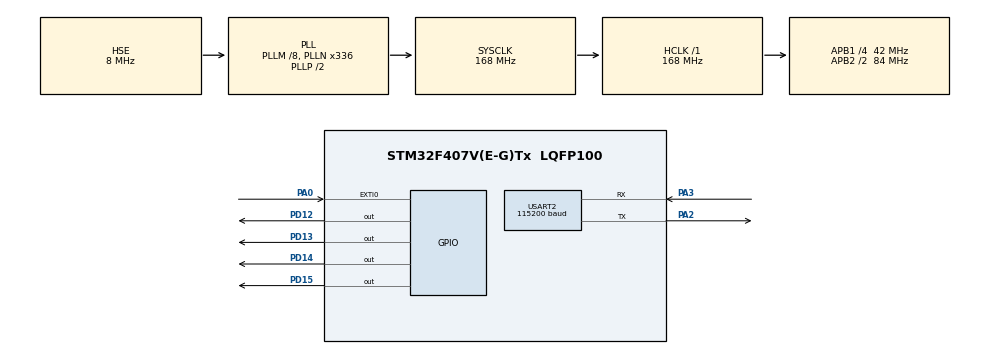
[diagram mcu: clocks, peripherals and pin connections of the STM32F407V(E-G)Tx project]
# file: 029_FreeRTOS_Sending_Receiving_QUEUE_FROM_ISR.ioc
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FREERTOS.Tasks01=defaultTask,24,128,StartDefaultTask,Default,NULL,Dynamic,NULL,NULL
FREERTOS.configUSE_NEWLIB_REENTRANT=1
Mcu.Family=STM32F4
Mcu.Name=STM32F407V(E-G)Tx
Mcu.Package=LQFP100
NVIC.EXTI0_IRQn=true\:5\:0\:false\:false\:true\:true\:true\:true\:true
NVIC.PriorityGroup=NVIC_PRIORITYGROUP_4
NVIC.TIM8_TRG_COM_TIM14_IRQn=true\:15\:0\:false\:false\:true\:false\:false\:true\:true
NVIC.TimeBase=TIM8_TRG_COM_TIM14_IRQn
NVIC.TimeBaseIP=TIM14
NVIC.USART2_IRQn=true\:5\:0\:false\:false\:true\:true\:true\:true\:true
PA0-WKUP.Signal=GPXTI0
PA2.Mode=Asynchronous
PA2.Signal=USART2_TX
PA3.Mode=Asynchronous
PA3.Signal=USART2_RX
PD12.Signal=GPIO_Output
PD13.Signal=GPIO_Output
PD14.Signal=GPIO_Output
PD15.Signal=GPIO_Output
PH0-OSC_IN.Mode=HSE-External-Oscillator
PH0-OSC_IN.Signal=RCC_OSC_IN
PH1-OSC_OUT.Mode=HSE-External-Oscillator
PH1-OSC_OUT.Signal=RCC_OSC_OUT
ProjectManager.HeapSize=0x200
ProjectManager.StackSize=0x400
ProjectManager.TargetToolchain=STM32CubeIDE
RCC.48MHZClocksFreq_Value=48000000
RCC.AHBFreq_Value=168000000
RCC.APB1CLKDivider=RCC_HCLK_DIV4
RCC.APB1Freq_Value=42000000
RCC.APB1TimFreq_Value=84000000
RCC.APB2CLKDivider=RCC_HCLK_DIV2
RCC.APB2Freq_Value=84000000
RCC.APB2TimFreq_Value=168000000
RCC.CortexFreq_Value=168000000
RCC.HCLKFreq_Value=168000000
RCC.HSE_VALUE=8000000
RCC.HSI_VALUE=16000000
RCC.LSE_VALUE=32768
RCC.PLLM=8
RCC.PLLN=336
RCC.PLLQ=7
RCC.PLLSourceVirtual=RCC_PLLSOURCE_HSE
RCC.SYSCLKFreq_VALUE=168000000
RCC.SYSCLKSource=RCC_SYSCLKSOURCE_PLLCLK
RCC.VCOOutputFreq_Value=336000000
USART2.BaudRate=115200
USART2.VirtualMode=VM_ASYNC
VP_FREERTOS_VS_CMSIS_V2.Mode=CMSIS_V2
VP_SYS_VS_tim14.Mode=TIM14
board=STM32F407G-DISC1

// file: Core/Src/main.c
/* USER CODE BEGIN Header */
/**
  ******************************************************************************
  * @file           : main.c
  * @brief          : Main program body
  ******************************************************************************
  * @attention
  *
  * Copyright (c) 2023 STMicroelectronics.
  * All rights reserved.
  *
  * This software is licensed under terms that can be found in the LICENSE file
  * in the root directory of this software component.
  * If no LICENSE file comes with this software, it is provided AS-IS.
  *
  ******************************************************************************
  */
/* USER CODE END Header */
#include "main.h"

/* USER CODE BEGIN Includes */
#include "FreeRTOS.h"
#include "task.h"
#include "queue.h"
#include <string.h>
#include <stdio.h>
/* USER CODE END Includes */

UART_HandleTypeDef huart2;

/* Definitions for defaultTask */

/* USER CODE BEGIN PV */
QueueHandle_t xIntegerQueue = NULL;
QueueHandle_t xStringQueue = NULL;

/* USER CODE END PV */

void SystemClock_Config(void);
static void MX_GPIO_Init(void);
static void MX_USART2_UART_Init(void);

/* USER CODE BEGIN 0 */
static void vIntegerGenerator(void *pvParameters)
{
	TickType_t xLastExecutionTime;
	uint32_t ulValueToSend = 0;
	int i;
	const char *msg = "Generator task - Filled the queue!\r\n";

	xLastExecutionTime = xTaskGetTickCount();
	for(;;)
	{
		vTaskDelayUntil(&xLastExecutionTime, pdMS_TO_TICKS(200));
		if(uxQueueSpacesAvailable(xIntegerQueue) == 10)
		{
			for(i = 0; i < 10; i++)
			{
				xQueueSendToBack(xIntegerQueue, &ulValueToSend, 0);
				ulValueToSend++;
			}
			HAL_UART_Transmit(&huart2, (uint8_t *)msg, strlen(msg), HAL_MAX_DELAY);
		}
	}
}
void HAL_GPIO_EXTI_Callback(uint16_t GPIO_Pin)
{
  if(GPIO_Pin == GPIO_PIN_0)
  {
	  BaseType_t xHigherPriorityTaskWoken = pdFALSE;
	  uint32_t ulReceivedNumber;

	  static const char *pcStrings[] =
	  {
			  "String 0\r\n",
			  "String 1\r\n",
			  "String 2\r\n",
			  "String 3\r\n",
	  };

	  while(xQueueReceiveFromISR(xIntegerQueue, &ulReceivedNumber, &xHigherPriorityTaskWoken) != errQUEUE_EMPTY)
	  {
		  ulReceivedNumber &= 0x03;
		  xQueueSendToBackFromISR(xStringQueue, &pcStrings[ulReceivedNumber], &xHigherPriorityTaskWoken);
	  }
	  portYIELD_FROM_ISR(xHigherPriorityTaskWoken);
  }
}
static void vStringPrinter(void *pvParameters)
{
	char *pcString;
	for(;;)
	{
		xQueueReceive(xStringQueue, &pcString, portMAX_DELAY);
		HAL_UART_Transmit(&huart2, (uint8_t*) pcString, strlen(pcString), HAL_MAX_DELAY);
	}
}
/* USER CODE END 0 */

int main(void)
{

  /* MCU Configuration--------------------------------------------------------*/

  /* Reset of all peripherals, Initializes the Flash interface and the Systick. */
  HAL_Init();

  /* Configure the system clock */
  SystemClock_Config();

  /* Initialize all configured peripherals */
  MX_GPIO_Init();
  MX_USART2_UART_Init();
  /* USER CODE BEGIN 2 */
  xIntegerQueue = xQueueCreate(10, sizeof(uint32_t));
  xStringQueue = xQueueCreate(10, sizeof(char *));

  xTaskCreate(vIntegerGenerator, "IntGen", 1000, NULL, 1, NULL);
  xTaskCreate(vStringPrinter, "String", 1000, NULL, 2, NULL);

  vTaskStartScheduler();
  /* USER CODE END 2 */

  /* Init scheduler */

  /* Create the thread(s) */
  /* creation of defaultTask */

  /* Start scheduler */

  /* We should never get here as control is now taken by the scheduler */
  /* Infinite loop */
  while (1)
  {

  }
}

void SystemClock_Config(void)
{
  RCC_OscInitTypeDef RCC_OscInitStruct = {0};
  RCC_ClkInitTypeDef RCC_ClkInitStruct = {0};

  /** Configure the main internal regulator output voltage
  */
  __HAL_RCC_PWR_CLK_ENABLE();
  __HAL_PWR_VOLTAGESCALING_CONFIG(PWR_REGULATOR_VOLTAGE_SCALE1);

  /** Initializes the RCC Oscillators according to the specified parameters
  * in the RCC_OscInitTypeDef structure.
  */
  RCC_OscInitStruct.OscillatorType = RCC_OSCILLATORTYPE_HSE;
  RCC_OscInitStruct.HSEState = RCC_HSE_ON;
  RCC_OscInitStruct.PLL.PLLState = RCC_PLL_ON;
  RCC_OscInitStruct.PLL.PLLSource = RCC_PLLSOURCE_HSE;
  RCC_OscInitStruct.PLL.PLLM = 8;
  RCC_OscInitStruct.PLL.PLLN = 336;
  RCC_OscInitStruct.PLL.PLLP = RCC_PLLP_DIV2;
  RCC_OscInitStruct.PLL.PLLQ = 7;
  if (HAL_RCC_OscConfig(&RCC_OscInitStruct) != HAL_OK)
  {
    Error_Handler();
  }

  /** Initializes the CPU, AHB and APB buses clocks
  */
  RCC_ClkInitStruct.ClockType = RCC_CLOCKTYPE_HCLK|RCC_CLOCKTYPE_SYSCLK
                              |RCC_CLOCKTYPE_PCLK1|RCC_CLOCKTYPE_PCLK2;
  RCC_ClkInitStruct.SYSCLKSource = RCC_SYSCLKSOURCE_PLLCLK;
  RCC_ClkInitStruct.AHBCLKDivider = RCC_SYSCLK_DIV1;
  RCC_ClkInitStruct.APB1CLKDivider = RCC_HCLK_DIV4;
  RCC_ClkInitStruct.APB2CLKDivider = RCC_HCLK_DIV2;

  if (HAL_RCC_ClockConfig(&RCC_ClkInitStruct, FLASH_LATENCY_5) != HAL_OK)
  {
    Error_Handler();
  }
}

static void MX_USART2_UART_Init(void)
{

  huart2.Instance = USART2;
  huart2.Init.BaudRate = 115200;
  huart2.Init.WordLength = UART_WORDLENGTH_8B;
  huart2.Init.StopBits = UART_STOPBITS_1;
  huart2.Init.Parity = UART_PARITY_NONE;
  huart2.Init.Mode = UART_MODE_TX_RX;
  huart2.Init.HwFlowCtl = UART_HWCONTROL_NONE;
  huart2.Init.OverSampling = UART_OVERSAMPLING_16;
  if (HAL_UART_Init(&huart2) != HAL_OK)
  {
    Error_Handler();
  }

}

static void MX_GPIO_Init(void)
{
  GPIO_InitTypeDef GPIO_InitStruct = {0};

  /* GPIO Ports Clock Enable */
  __HAL_RCC_GPIOH_CLK_ENABLE();
  __HAL_RCC_GPIOA_CLK_ENABLE();
  __HAL_RCC_GPIOD_CLK_ENABLE();

  /*Configure GPIO pin Output Level */
  HAL_GPIO_WritePin(GPIOD, GPIO_PIN_12|GPIO_PIN_13|GPIO_PIN_14|GPIO_PIN_15, GPIO_PIN_RESET);

  /*Configure GPIO pin : PA0 */
  GPIO_InitStruct.Pin = GPIO_PIN_0;
  GPIO_InitStruct.Mode = GPIO_MODE_IT_RISING;
  GPIO_InitStruct.Pull = GPIO_NOPULL;
  HAL_GPIO_Init(GPIOA, &GPIO_InitStruct);

  /*Configure GPIO pins : PD12 PD13 PD14 PD15 */
  GPIO_InitStruct.Pin = GPIO_PIN_12|GPIO_PIN_13|GPIO_PIN_14|GPIO_PIN_15;
  GPIO_InitStruct.Mode = GPIO_MODE_OUTPUT_PP;
  GPIO_InitStruct.Pull = GPIO_NOPULL;
  GPIO_InitStruct.Speed = GPIO_SPEED_FREQ_LOW;
  HAL_GPIO_Init(GPIOD, &GPIO_InitStruct);

  /* EXTI interrupt init*/
  HAL_NVIC_SetPriority(EXTI0_IRQn, 5, 0);
  HAL_NVIC_EnableIRQ(EXTI0_IRQn);

}

void HAL_TIM_PeriodElapsedCallback(TIM_HandleTypeDef *htim)
{
  if (htim->Instance == TIM14) {
    HAL_IncTick();
  }
}

void Error_Handler(void)
{
  __disable_irq();
  while (1)
  {
  }
}
